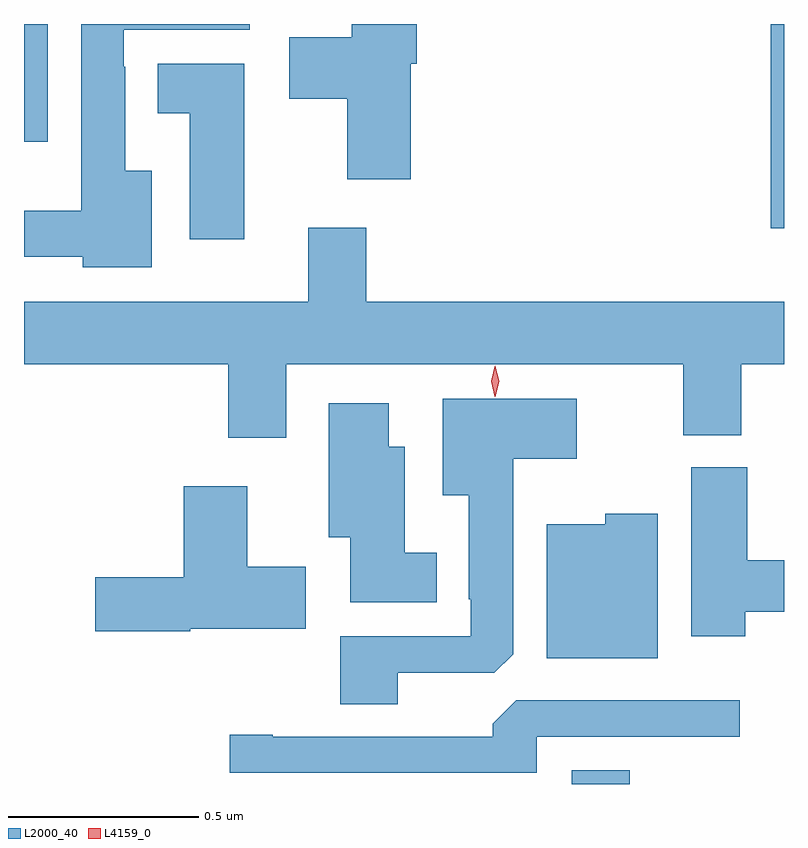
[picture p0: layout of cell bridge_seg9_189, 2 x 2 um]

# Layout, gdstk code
import gdstk
lib = gdstk.Library(unit=1e-6, precision=1e-09)
def R(c, l, rs):  # rectangles x0, y0, x1, y1
    for r in rs: c.add(gdstk.rectangle(r[:2], r[2:], *l))
def P(c, l, *ps):  # polygons
    for p in ps: c.add(gdstk.Polygon(p, *l))
L2000_40 = (2000, 40)
L4159_0 = (4159, 0)

bridge_seg9_189 = lib.new_cell('bridge_seg9_189')
R(bridge_seg9_189, L2000_40, [(182.351,1211.299,182.504,1211.335), (182.875,1212.762,182.91,1213.299), (180.91,1212.989,180.973,1213.299)])
P(bridge_seg9_189, L2000_40, [(181.246,1212.913),(181.177,1212.913),(181.177,1213.187),(181.173,1213.187),(181.173,1213.284),(181.504,1213.284),(181.504,1213.299),(181.061,1213.299),(181.061,1212.808),(180.91,1212.808),(180.91,1212.686),(181.065,1212.686),(181.065,1212.659),(181.246,1212.659)],
  [(181.928,1213.195),(181.943,1213.195),(181.943,1213.299),(181.772,1213.299),(181.772,1213.264),(181.608,1213.264),(181.608,1213.102),(181.76,1213.102),(181.76,1212.891),(181.928,1212.891)],
  [(181.489,1213.195),(181.262,1213.195),(181.262,1213.064),(181.346,1213.064),(181.346,1212.732),(181.489,1212.732)],
  [(181.6,1212.404),(182.645,1212.404),(182.645,1212.217),(182.798,1212.217),(182.798,1212.404),(182.91,1212.404),(182.91,1212.568),(181.811,1212.568),(181.811,1212.763),(181.658,1212.763),(181.658,1212.568),(180.91,1212.568),(180.91,1212.404),(181.448,1212.404),(181.448,1212.21),(181.6,1212.21)],
  [(181.894,1211.592),(182.148,1211.592),(182.197,1211.641),(182.197,1212.155),(182.365,1212.155),(182.365,1212.313),(182.012,1212.313),(182.012,1212.059),(182.081,1212.059),(182.081,1211.785),(182.085,1211.785),(182.085,1211.688),(181.742,1211.688),(181.742,1211.509),(181.894,1211.509)],
  [(181.996,1211.908),(181.912,1211.908),(181.912,1212.187),(181.87,1212.187),(181.87,1212.301),(181.712,1212.301),(181.712,1211.948),(181.769,1211.948),(181.769,1211.777),(181.996,1211.777)],
  [(182.808,1211.752),(182.91,1211.752),(182.91,1211.888),(182.813,1211.888),(182.813,1212.132),(182.666,1212.132),(182.666,1211.688),(182.808,1211.688)],
  [(181.347,1211.708),(181.651,1211.708),(181.651,1211.871),(181.498,1211.871),(181.498,1212.082),(181.331,1212.082),(181.331,1211.843),(181.098,1211.843),(181.098,1211.701),(181.347,1211.701)],
  [(182.578,1212.01),(182.439,1212.01),(182.439,1211.983),(182.285,1211.983),(182.285,1211.63),(182.578,1211.63)],
  [(182.259,1211.424),(182.794,1211.424),(182.794,1211.52),(182.205,1211.52),(182.144,1211.458),(182.144,1211.424),(181.564,1211.424),(181.564,1211.429),(181.452,1211.429),(181.452,1211.328),(182.259,1211.328)])
P(bridge_seg9_189, L4159_0, [(182.149,1212.318),(182.139,1212.359),(182.149,1212.399),(182.15,1212.4),(182.15,1212.399),(182.16,1212.359),(182.15,1212.318),(182.15,1212.318)])

lib.write_gds('bridge_seg9_189.gds')
